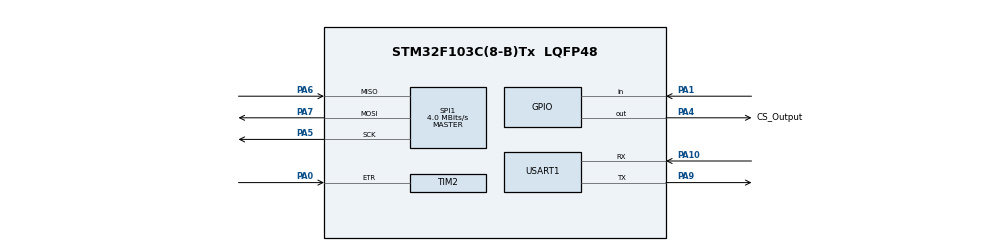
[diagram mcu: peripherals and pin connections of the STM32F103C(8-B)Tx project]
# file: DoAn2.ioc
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Mcu.Family=STM32F1
Mcu.Name=STM32F103C(8-B)Tx
Mcu.Package=LQFP48
NVIC.PriorityGroup=NVIC_PRIORITYGROUP_4
NVIC.TIM2_IRQn=true\:2\:0\:true\:false\:true\:true\:true\:true
NVIC.USART1_IRQn=true\:3\:0\:true\:false\:true\:true\:true\:true
PA0-WKUP.Signal=S_TIM2_CH1_ETR
PA1.Signal=GPIO_Input
PA10.Mode=Asynchronous
PA10.Signal=USART1_RX
PA4.GPIO_Label=CS_Output
PA4.Signal=GPIO_Output
PA5.Mode=Full_Duplex_Master
PA5.Signal=SPI1_SCK
PA6.Mode=Full_Duplex_Master
PA6.Signal=SPI1_MISO
PA7.Mode=Full_Duplex_Master
PA7.Signal=SPI1_MOSI
PA9.Mode=Asynchronous
PA9.Signal=USART1_TX
ProjectManager.HeapSize=0x200
ProjectManager.StackSize=0x400
ProjectManager.TargetToolchain=STM32CubeIDE
RCC.APB1Freq_Value=8000000
RCC.APB2Freq_Value=8000000
SH.S_TIM2_CH1_ETR.0=TIM2_ETR,ClockSourceETR_Mode2
SPI1.CalculateBaudRate=4.0 MBits/s
SPI1.Direction=SPI_DIRECTION_2LINES
SPI1.Mode=SPI_MODE_MASTER
SPI1.VirtualType=VM_MASTER
USART1.VirtualMode=VM_ASYNC
board=custom

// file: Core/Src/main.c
/* USER CODE BEGIN Header */
/**
 ******************************************************************************
 * @file           : main.c
 * @brief          : Main program body
 ******************************************************************************
 * @attention
 *
 * Copyright (c) 2024 STMicroelectronics.
 * All rights reserved.
 *
 * This software is licensed under terms that can be found in the LICENSE file
 * in the root directory of this software component.
 * If no LICENSE file comes with this software, it is provided AS-IS.
 *
 ******************************************************************************
 */
/* USER CODE END Header */
#include "main.h"

/* USER CODE BEGIN PD */
//-----------------------------------------------------------
#define HEADER_HIGH 0xAB
#define HEADER_LOW 0xCD
//-----------------------------------------------------------
#define INTERNET_STATUS 0x11
#define CIMS_CHARGE_STATUS 0x12
#define HMI_STATUS 0x13
#define PLC_STATUS 0x14
#define ID_TAG 0x15
#define SLAVE_STATUS 0x16
#define CONNECTOR_STATUS 0x17
#define HMI_CONTROL_TRANSACTION 0x18
#define BEGIN_TRANSACTION 0x19
#define END_TRANSACTION 0x1A
#define TRANSACTION_CONFIRMATION 0x1B
#define TRIGGER_MESSAGE 0x1C
#define SYNC_CLOCK_TIME 0x1D
#define SYNC_CLOCK_DATE 0x1E
#define CURRENT_VALUE 0x20
#define VOLT_VALUE 0x21
/* USER CODE END PD */

SPI_HandleTypeDef hspi1;

TIM_HandleTypeDef htim2;

UART_HandleTypeDef huart1;

/* USER CODE BEGIN PV */
uint8_t buffer[8] = { };
uint8_t uartData = 0;
uint8_t count = 0;
uint8_t tx_data[8] = { };
uint8_t context = 0;
uint8_t lastContext = 0;
unsigned long lastDebounceTime = 0;  // the last time the output pin was toggled
unsigned long debounceDelay = 50; // the debounce time; increase if the output flickers
/* USER CODE END PV */

void SystemClock_Config(void);
static void MX_GPIO_Init(void);
static void MX_SPI1_Init(void);
static void MX_USART1_UART_Init(void);
static void MX_TIM2_Init(void);

/* USER CODE BEGIN 0 */
void process(uint8_t buffer[8]) {
	switch (buffer[2]) {
	case BEGIN_TRANSACTION:
		//something to QCA

		break;

	case END_TRANSACTION:
		//something to QCA

		break;

	default:
		break;
	}
}

void sendData(uint8_t data[5]) {
	tx_data[0] = HEADER_HIGH;
	tx_data[1] = HEADER_LOW;

	for (uint8_t i = 0; i < 5; i++) {
		tx_data[i + 2] = data[i];
	}
	uint8_t checksum = 0;
	for (uint8_t i = 0; i < 7; i++) {
		checksum += tx_data[i];
	}
	tx_data[7] = checksum;
	HAL_UART_Transmit(&huart1, tx_data, sizeof(tx_data), 100);
}

void HAL_UART_RxCpltCallback(UART_HandleTypeDef *huart) {
	if (huart->Instance == USART1) {
		if (count == 0) {
			if (uartData == HEADER_HIGH) {
				buffer[count] = uartData;
				count++;
			} else {
				count = 0;
			}
		}
		// check header
		else if (count == 1) {
			if (uartData == HEADER_LOW) {
				buffer[count] = uartData;
				count++;
			} else {
				count = 0;
			}
		}
		// save data
		else if (count > 1 && count < 8) {
			buffer[count] = uartData;
			count++;
					if (count == 8) {
			count = 0;
			uint8_t checksum = 0;
			for (uint8_t i = 0; i < 7; i++) {
				checksum += buffer[i];
			}
			if (buffer[7] != checksum) {
				uint8_t tx_data_error[] = {'e', 'r', 'r', 'o', 'r'};
				HAL_UART_Transmit(&huart1, tx_data_error, 8, 100);
			}
			process(buffer);
		}
		}
		// check checksum & process

		HAL_UART_Receive_IT(&huart1, &uartData, 1);
	}
}
/* USER CODE END 0 */

int main(void)
{

  /* MCU Configuration--------------------------------------------------------*/

  /* Reset of all peripherals, Initializes the Flash interface and the Systick. */
  HAL_Init();

  /* Configure the system clock */
  SystemClock_Config();

  /* Initialize all configured peripherals */
  MX_GPIO_Init();
  MX_SPI1_Init();
  MX_USART1_UART_Init();
  MX_TIM2_Init();
  /* USER CODE BEGIN 2 */
	HAL_UART_Receive_IT(&huart1, &uartData, 1);
  /* USER CODE END 2 */

  /* Infinite loop */
	while (1) {

    /* USER CODE BEGIN 3 */
		uint8_t reading;
		if(HAL_GPIO_ReadPin(GPIOA, GPIO_PIN_1) == GPIO_PIN_SET) reading = 0;
		else reading = 1;
		if (!reading) {
			if ((HAL_GetTick() - lastDebounceTime) > debounceDelay) {
				if (!reading) {
					if (lastContext != reading){
						uint8_t data[] = {HMI_CONTROL_TRANSACTION, 0x00, 0x00, 0x02, 0x00};
						if (context == 1) {
							context = 0;
							sendData(data);
						}
						else {
							data[4] = 0x01;
							context = 1;
							sendData(data);
						}
					}
				}
				lastContext = reading;
			}
		} else {
			lastDebounceTime = HAL_GetTick();
			lastContext = reading;
		}
	}
  /* USER CODE END 3 */
}

void SystemClock_Config(void)
{
  RCC_OscInitTypeDef RCC_OscInitStruct = {0};
  RCC_ClkInitTypeDef RCC_ClkInitStruct = {0};

  /** Initializes the RCC Oscillators according to the specified parameters
  * in the RCC_OscInitTypeDef structure.
  */
  RCC_OscInitStruct.OscillatorType = RCC_OSCILLATORTYPE_HSI;
  RCC_OscInitStruct.HSIState = RCC_HSI_ON;
  RCC_OscInitStruct.HSICalibrationValue = RCC_HSICALIBRATION_DEFAULT;
  RCC_OscInitStruct.PLL.PLLState = RCC_PLL_NONE;
  if (HAL_RCC_OscConfig(&RCC_OscInitStruct) != HAL_OK)
  {
    Error_Handler();
  }

  /** Initializes the CPU, AHB and APB buses clocks
  */
  RCC_ClkInitStruct.ClockType = RCC_CLOCKTYPE_HCLK|RCC_CLOCKTYPE_SYSCLK
                              |RCC_CLOCKTYPE_PCLK1|RCC_CLOCKTYPE_PCLK2;
  RCC_ClkInitStruct.SYSCLKSource = RCC_SYSCLKSOURCE_HSI;
  RCC_ClkInitStruct.AHBCLKDivider = RCC_SYSCLK_DIV1;
  RCC_ClkInitStruct.APB1CLKDivider = RCC_HCLK_DIV1;
  RCC_ClkInitStruct.APB2CLKDivider = RCC_HCLK_DIV1;

  if (HAL_RCC_ClockConfig(&RCC_ClkInitStruct, FLASH_LATENCY_0) != HAL_OK)
  {
    Error_Handler();
  }
}

static void MX_SPI1_Init(void)
{

  /* SPI1 parameter configuration*/
  hspi1.Instance = SPI1;
  hspi1.Init.Mode = SPI_MODE_MASTER;
  hspi1.Init.Direction = SPI_DIRECTION_2LINES;
  hspi1.Init.DataSize = SPI_DATASIZE_8BIT;
  hspi1.Init.CLKPolarity = SPI_POLARITY_LOW;
  hspi1.Init.CLKPhase = SPI_PHASE_1EDGE;
  hspi1.Init.NSS = SPI_NSS_SOFT;
  hspi1.Init.BaudRatePrescaler = SPI_BAUDRATEPRESCALER_2;
  hspi1.Init.FirstBit = SPI_FIRSTBIT_MSB;
  hspi1.Init.TIMode = SPI_TIMODE_DISABLE;
  hspi1.Init.CRCCalculation = SPI_CRCCALCULATION_DISABLE;
  hspi1.Init.CRCPolynomial = 10;
  if (HAL_SPI_Init(&hspi1) != HAL_OK)
  {
    Error_Handler();
  }

}

static void MX_TIM2_Init(void)
{

  TIM_ClockConfigTypeDef sClockSourceConfig = {0};
  TIM_MasterConfigTypeDef sMasterConfig = {0};

  htim2.Instance = TIM2;
  htim2.Init.Prescaler = 0;
  htim2.Init.CounterMode = TIM_COUNTERMODE_UP;
  htim2.Init.Period = 65535;
  htim2.Init.ClockDivision = TIM_CLOCKDIVISION_DIV1;
  htim2.Init.AutoReloadPreload = TIM_AUTORELOAD_PRELOAD_DISABLE;
  if (HAL_TIM_Base_Init(&htim2) != HAL_OK)
  {
    Error_Handler();
  }
  sClockSourceConfig.ClockSource = TIM_CLOCKSOURCE_ETRMODE2;
  sClockSourceConfig.ClockPolarity = TIM_CLOCKPOLARITY_NONINVERTED;
  sClockSourceConfig.ClockPrescaler = TIM_CLOCKPRESCALER_DIV1;
  sClockSourceConfig.ClockFilter = 0;
  if (HAL_TIM_ConfigClockSource(&htim2, &sClockSourceConfig) != HAL_OK)
  {
    Error_Handler();
  }
  sMasterConfig.MasterOutputTrigger = TIM_TRGO_RESET;
  sMasterConfig.MasterSlaveMode = TIM_MASTERSLAVEMODE_DISABLE;
  if (HAL_TIMEx_MasterConfigSynchronization(&htim2, &sMasterConfig) != HAL_OK)
  {
    Error_Handler();
  }

}

static void MX_USART1_UART_Init(void)
{

  huart1.Instance = USART1;
  huart1.Init.BaudRate = 115200;
  huart1.Init.WordLength = UART_WORDLENGTH_8B;
  huart1.Init.StopBits = UART_STOPBITS_1;
  huart1.Init.Parity = UART_PARITY_NONE;
  huart1.Init.Mode = UART_MODE_TX_RX;
  huart1.Init.HwFlowCtl = UART_HWCONTROL_NONE;
  huart1.Init.OverSampling = UART_OVERSAMPLING_16;
  if (HAL_UART_Init(&huart1) != HAL_OK)
  {
    Error_Handler();
  }

}

static void MX_GPIO_Init(void)
{
  GPIO_InitTypeDef GPIO_InitStruct = {0};

  /* GPIO Ports Clock Enable */
  __HAL_RCC_GPIOA_CLK_ENABLE();

  /*Configure GPIO pin Output Level */
  HAL_GPIO_WritePin(CS_Output_GPIO_Port, CS_Output_Pin, GPIO_PIN_RESET);

  /*Configure GPIO pin : PA1 */
  GPIO_InitStruct.Pin = GPIO_PIN_1;
  GPIO_InitStruct.Mode = GPIO_MODE_INPUT;
  GPIO_InitStruct.Pull = GPIO_NOPULL;
  HAL_GPIO_Init(GPIOA, &GPIO_InitStruct);

  /*Configure GPIO pin : CS_Output_Pin */
  GPIO_InitStruct.Pin = CS_Output_Pin;
  GPIO_InitStruct.Mode = GPIO_MODE_OUTPUT_PP;
  GPIO_InitStruct.Pull = GPIO_NOPULL;
  GPIO_InitStruct.Speed = GPIO_SPEED_FREQ_LOW;
  HAL_GPIO_Init(CS_Output_GPIO_Port, &GPIO_InitStruct);

}

void Error_Handler(void)
{
	__disable_irq();
	while (1) {
	}
}
